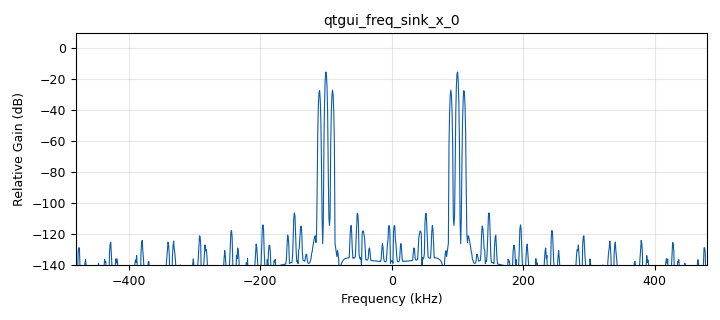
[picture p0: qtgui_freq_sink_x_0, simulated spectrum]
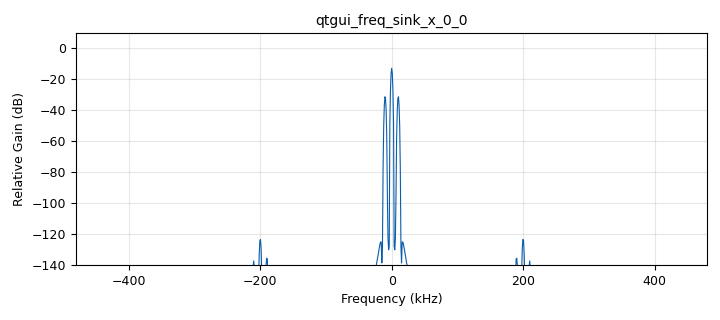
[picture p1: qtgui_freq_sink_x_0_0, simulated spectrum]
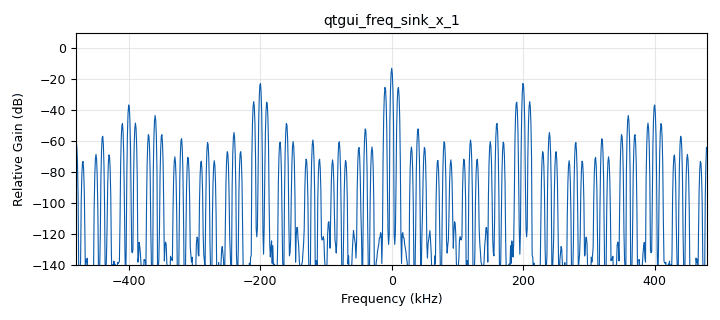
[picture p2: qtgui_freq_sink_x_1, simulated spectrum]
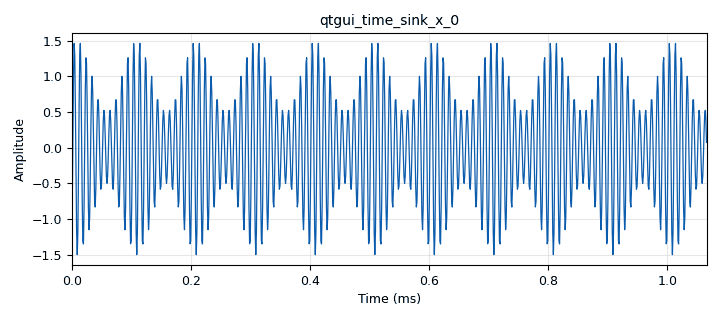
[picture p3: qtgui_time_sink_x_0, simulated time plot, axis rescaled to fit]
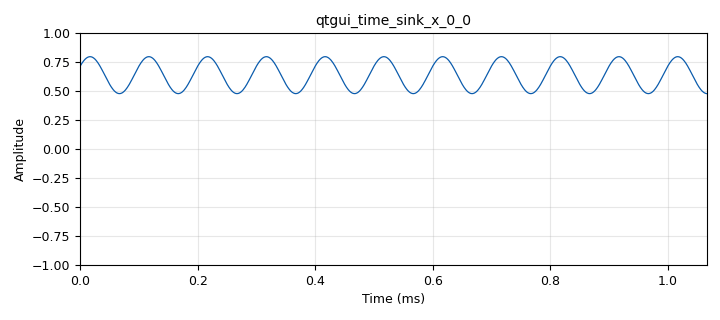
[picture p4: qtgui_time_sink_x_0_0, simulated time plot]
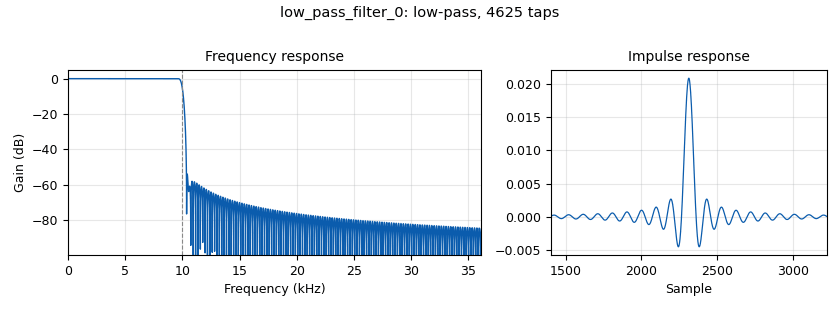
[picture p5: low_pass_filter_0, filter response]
options:
  parameters:
    generate_options: qt_gui
    id: Lab2_1
    output_language: python
    title: Not titled yet
  states: {}

blocks:
- name: samp_rate
  id: variable
  parameters:
    value: '48000'
  states: {}
- name: analog_sig_source_x_0
  id: analog_sig_source_x
  parameters:
    amp: '1'
    freq: '100000'
    offset: '0'
    phase: '0'
    samp_rate: '960000'
    type: float
    waveform: analog.GR_COS_WAVE
  states: {}
- name: analog_sig_source_x_1
  id: analog_sig_source_x
  parameters:
    amp: '1'
    freq: '10000'
    offset: '0'
    phase: '0'
    samp_rate: samp_rate
    type: float
    waveform: analog.GR_COS_WAVE
  states: {}
- name: blocks_abs_xx_0
  id: blocks_abs_xx
  parameters:
    type: float
  states: {}
- name: blocks_add_const_vxx_0
  id: blocks_add_const_vxx
  parameters:
    const: '1'
    type: float
  states: {}
- name: blocks_add_const_vxx_1
  id: blocks_add_const_vxx
  parameters:
    const: '-0.65'
    type: float
  states: {state: bypassed}
- name: blocks_multiply_const_vxx_0
  id: blocks_multiply_const_vxx
  parameters:
    const: '0.5'
    type: float
  states: {}
- name: blocks_multiply_xx_0
  id: blocks_multiply_xx
  parameters:
    type: float
  states: {}
- name: blocks_throttle_0
  id: blocks_throttle
  parameters:
    samples_per_second: '960000'
    type: float
  states: {}
- name: low_pass_filter_0
  id: low_pass_filter
  parameters:
    cutoff_freq: '10000'
    decim: '1'
    gain: '1'
    samp_rate: '960000'
    type: fir_filter_fff
    width: '500'
    win: window.WIN_HAMMING
  states: {}
- name: qtgui_freq_sink_x_0
  id: qtgui_freq_sink_x
  parameters:
    bw: '960000'
    fc: '0'
    fftsize: '1024'
    gui_hint: tab@0
    type: float
  states: {}
- name: qtgui_freq_sink_x_0_0
  id: qtgui_freq_sink_x
  parameters:
    bw: '960000'
    fc: '0'
    fftsize: '1024'
    gui_hint: tab@1
    type: float
  states: {}
- name: qtgui_freq_sink_x_1
  id: qtgui_freq_sink_x
  parameters:
    bw: '960000'
    fc: '0'
    fftsize: '1024'
    gui_hint: tab@1
    type: float
  states: {}
- name: qtgui_time_sink_x_0
  id: qtgui_time_sink_x
  parameters:
    gui_hint: tab@0
    size: '1024'
    srate: '960000'
    type: float
  states: {}
- name: qtgui_time_sink_x_0_0
  id: qtgui_time_sink_x
  parameters:
    gui_hint: tab@1
    size: '1024'
    srate: '960000'
    type: float
  states: {}
- name: qtgui_time_sink_x_0_1
  id: qtgui_time_sink_x
  parameters:
    gui_hint: tab@0
    size: '1024'
    srate: '960000'
    type: float
  states: {state: disabled}
- name: rational_resampler_xxx_0
  id: rational_resampler_xxx
  parameters:
    decim: '48000'
    interp: '960000'
    type: fff
  states: {}
- name: tab
  id: qtgui_tab_widget
  parameters:
    label0: Modulated
    label1: Demodulated
    num_tabs: '2'
  states: {}

connections:
- [analog_sig_source_x_0, '0', blocks_multiply_xx_0, '1']
- [analog_sig_source_x_1, '0', blocks_multiply_const_vxx_0, '0']
- [blocks_abs_xx_0, '0', low_pass_filter_0, '0']
- [blocks_abs_xx_0, '0', qtgui_freq_sink_x_1, '0']
- [blocks_add_const_vxx_0, '0', rational_resampler_xxx_0, '0']
- [blocks_add_const_vxx_1, '0', qtgui_freq_sink_x_0_0, '0']
- [blocks_add_const_vxx_1, '0', qtgui_time_sink_x_0_0, '0']
- [blocks_multiply_const_vxx_0, '0', blocks_add_const_vxx_0, '0']
- [blocks_multiply_xx_0, '0', blocks_throttle_0, '0']
- [blocks_throttle_0, '0', blocks_abs_xx_0, '0']
- [blocks_throttle_0, '0', qtgui_freq_sink_x_0, '0']
- [blocks_throttle_0, '0', qtgui_time_sink_x_0, '0']
- [low_pass_filter_0, '0', blocks_add_const_vxx_1, '0']
- [rational_resampler_xxx_0, '0', blocks_multiply_xx_0, '0']
- [rational_resampler_xxx_0, '0', qtgui_time_sink_x_0_1, '0']

metadata:
  file_format: 1
